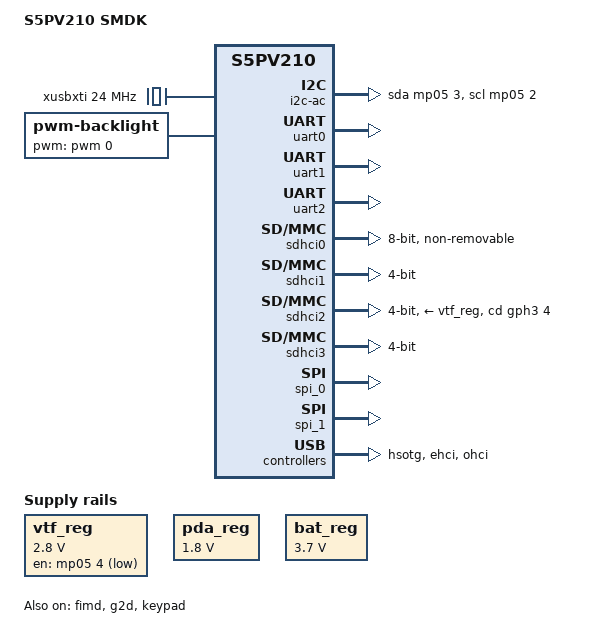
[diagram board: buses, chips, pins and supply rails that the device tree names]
/*
 * Samsung's S5PV210 SoC device tree source
 *
 * Copyright (c) 2013 Mateusz Krawczuk <m.krawczuk@partner.samsung.com>
 *
 * Samsung's S5PV210 SoC device nodes are listed in this file. S5PV210
 * based board files can include this file and provide values for board specfic
 * bindings.
 *
 * Note: This file does not include device nodes for all the controllers in
 * S5PV210 SoC. As device tree coverage for S5PV210 increases, additional
 * nodes can be added to this file.
 *
 * This program is free software; you can redistribute it and/or modify
 * it under the terms of the GNU General Public License version 2 as
 * published by the Free Software Foundation.
 */

/dts-v1/;
#include <dt-bindings/input/input.h>
#include "s5pv210.dtsi"

/ {
	model = "S5PV210 SMDK";
	compatible = "samsung,smdkv210", "samsung,s5pv210";

	chosen {
		bootargs = "console=ttySAC0,115200n8 root=/dev/mmcblk0p1 rw rootwait ignore_loglevel earlyprintk";
	};

	memory {
		device_type = "memory";
		reg = <>;
	};

	fixed-clocks {
		compatible = "simple-bus";
		#address-cells = <1>;
		#size-cells = <0>;

		xxti: oscillator@0 {
			compatible = "fixed-clock";
			reg = <0>;
			clock-output-names = "xxti";
			clock-frequency = <0>;
			#clock-cells = <0>;
		};

		xusbxti: oscillator@1 {
			compatible = "fixed-clock";
			reg = <1>;
			clock-output-names = "xusbxti";
			clock-frequency = <24000000>;
			#clock-cells = <0>;
		};
	};

	regulators {
		compatible = "simple-bus";
		#address-cells = <1>;
		#size-cells = <0>;

		vtf_reg: fixed-regulator@0 {
			compatible = "regulator-fixed";
			regulator-name = "V_TF_2.8V";
			regulator-min-microvolt = <2800000>;
			regulator-max-microvolt = <2800000>;
			reg = <0>;
			gpios = <&mp05 4 0>;
		};

		pda_reg: fixed-regulator@1 {
			compatible = "regulator-fixed";
			regulator-name = "VCC_1.8V_PDA";
			regulator-min-microvolt = <1800000>;
			regulator-max-microvolt = <1800000>;
			reg = <1>;
		};

		bat_reg: fixed-regulator@2 {
			compatible = "regulator-fixed";
			regulator-name = "V_BAT";
			regulator-min-microvolt = <3700000>;
			regulator-max-microvolt = <3700000>;
			reg = <2>;
		};
	};

	i2c-ac {
		compatible = "i2c-gpio";
		gpios = <&mp05 3 0>, /* sda */
			<&mp05 2 0>; /* scl */
		i2c-gpio,delay-us = <2>;        /* ~100 kHz */
		#address-cells = <1>;
		#size-cells = <0>;
	};

	keypad: keypad@e1600000 {
		compatible = "samsung,s5pv210-keypad";
		reg = <0xe1600000 0x100>;
		interrupt-parent = <&vic2>;
		interrupts = <25>;
		clocks = <&clocks KEYIF>;
		clock-names = "keypad";
		status = "okay";
		linux,input-no-autorepeat;
		linux,input-wakeup;
		samsung,keypad-num-rows = <8>;
		samsung,keypad-num-columns = <8>;
		pinctrl-names = "default";
		pinctrl-0 = <&keypad_row0>, <&keypad_row1>, <&keypad_row2>,
				<&keypad_row3>, <&keypad_row4>, <&keypad_row5>,
				<&keypad_row6>, <&keypad_row7>,
				<&keypad_col0>, <&keypad_col1>, <&keypad_col2>,
				<&keypad_col3>, <&keypad_col4>, <&keypad_col5>,
				<&keypad_col6>, <&keypad_col7>;

		key_1 {
			keypad,row = <0>;
			keypad,column = <3>;
			linux,code = <KEY_1>;
		};

		key_2 {
			keypad,row = <0>;
			keypad,column = <4>;
			linux,code = <KEY_2>;
		};

		key_3 {
			keypad,row = <0>;
			keypad,column = <5>;
			linux,code = <KEY_3>;
		};

		key_4 {
			keypad,row = <0>;
			keypad,column = <6>;
			linux,code = <KEY_4>;
		};

		key_5 {
			keypad,row = <0
			>;
			keypad,column = <7>;
			linux,code = <KEY_5>;
		};

		key_6 {
			keypad,row = <1>;
			keypad,column = <3>;
			linux,code = <KEY_A>;
		};
		key_7 {
			keypad,row = <1>;
			keypad,column = <4>;
			linux,code = <KEY_B>;
		};

		key_8 {
			keypad,row = <1>;
			keypad,column = <5>;
			linux,code = <KEY_C>;
		};

		key_9 {
			keypad,row = <1>;
			keypad,column = <6>;
			linux,code = <KEY_D>;
		};

		key_10 {
			keypad,row = <1>;
			keypad,column = <7>;
			linux,code = <KEY_E>;
		};
	};

	ethernet@18000000 {
		compatible = "davicom,dm9000";
		reg = <0xA8000000 0x2 0xA8000004 0x2>;
		interrupt-parent = <&mp01>;
		interrupts = <5 2>;
		local-mac-address = [00 00 de ad be ef];
		davicom,no-eeprom;
		status = "disable";
	};

	backlight {
		compatible = "pwm-backlight";
		pwms = <&pwm 0 5000000>;
		brightness-levels = <0 4 8 16 32 64 128 255>;
		default-brightness-level = <6>;
	};
};


&uart0 {
	status = "okay";
};

&uart1 {
	status = "okay";
};

&uart2 {
	status = "okay";
};

&sdhci0 {
	bus-width = <8>;
	non-removable;
	status = "okay";
};

&sdhci1 {
	bus-width = <4>;
	pinctrl-0 = <&sd1_clk &sd1_cmd &sd1_cd &sd1_bus4>;
	pinctrl-names = "default";
	status = "okay";
};

&sdhci2 {
	bus-width = <4>;
	cd-gpios = <&gph3 4 1>;
	vmmc-supply = <&vtf_reg>;
	cd-inverted;
	pinctrl-0 = <&sd2_clk &sd2_cmd &sd2_bus4>;
	pinctrl-names = "default";
	status = "okay";
};

&sdhci3 {
	bus-width = <4>;
	pinctrl-0 = <&sd3_clk &sd3_cmd &sd3_cd &sd3_bus4>;
	pinctrl-names = "default";
	status = "okay";
};

&spi_0 {
	status = "okay";
};

&spi_1 {
	status = "okay";
};

&hsotg {
	status = "okay";
};

&usbphy {
	clocks = <&clocks USB_OTG>, <&xusbxti>, <&xusbxti>;
	clock-names = "phy", "device", "host";
};

&fimd {
	pinctrl-0 = <&lcd_clk &lcd_data24 &pwm1_out>;
	pinctrl-names = "default";
	status = "okay";
};

&g2d {
	status = "okay";
};

&ehci {
	status = "okay";
};

&ohci {
	status = "okay";
};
